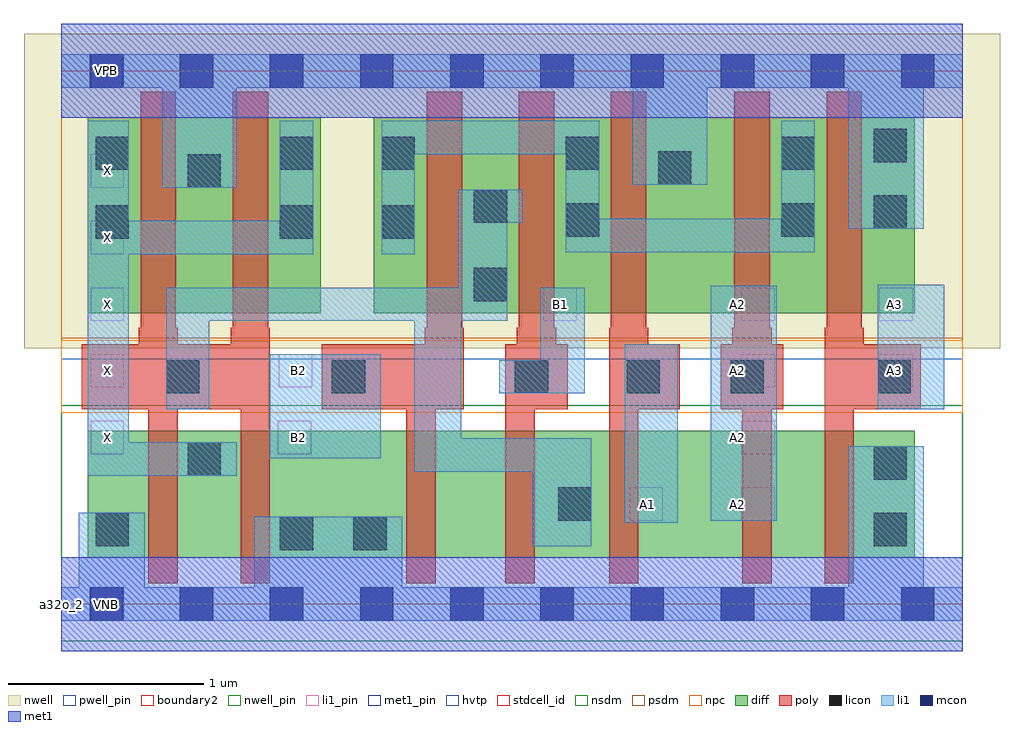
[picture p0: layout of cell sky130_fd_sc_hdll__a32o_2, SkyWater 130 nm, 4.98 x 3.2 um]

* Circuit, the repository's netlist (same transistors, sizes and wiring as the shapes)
* Copyright 2020 The SkyWater PDK Authors
*
* Licensed under the Apache License, Version 2.0 (the "License");
* you may not use this file except in compliance with the License.
* You may obtain a copy of the License at
*
*     https://www.apache.org/licenses/LICENSE-2.0
*
* Unless required by applicable law or agreed to in writing, software
* distributed under the License is distributed on an "AS IS" BASIS,
* WITHOUT WARRANTIES OR CONDITIONS OF ANY KIND, either express or implied.
* See the License for the specific language governing permissions and
* limitations under the License.
*
* SPDX-License-Identifier: Apache-2.0

.SUBCKT sky130_fd_sc_hdll__a32o_2 A1 A2 A3 B1 B2 VGND VNB VPB VPWR X
*.PININFO A1:I A2:I A3:I B1:I B2:I VGND:I VNB:I VPB:I VPWR:I X:O
MMPA0 pndA A1 VPWR VPB sky130_fd_pr__pfet_01v8_hvt m=1 w=1.0U l=0.18U mult=1 sa=0.265
+ sb=0.265 sd=0.28 area=0.063 perim=1.14
MMPA1 pndA A2 VPWR VPB sky130_fd_pr__pfet_01v8_hvt m=1 w=1.0U l=0.18U mult=1 sa=0.265
+ sb=0.265 sd=0.28 area=0.063 perim=1.14
MMPA2 pndA A3 VPWR VPB sky130_fd_pr__pfet_01v8_hvt m=1 w=1.0U l=0.18U mult=1 sa=0.265
+ sb=0.265 sd=0.28 area=0.063 perim=1.14
MMPB0 y B1 pndA VPB sky130_fd_pr__pfet_01v8_hvt m=1 w=1.0U l=0.18U mult=1 sa=0.265
+ sb=0.265 sd=0.28 area=0.063 perim=1.14
MMPB1 y B2 pndA VPB sky130_fd_pr__pfet_01v8_hvt m=1 w=1.0U l=0.18U mult=1 sa=0.265
+ sb=0.265 sd=0.28 area=0.063 perim=1.14
MMIPX X y VPWR VPB sky130_fd_pr__pfet_01v8_hvt m=2 w=1.0U l=0.18U mult=1 sa=0.265
+ sb=0.265 sd=0.28 area=0.063 perim=1.14
MMNA0 y A1 sndA1 VNB sky130_fd_pr__nfet_01v8 m=1 w=0.65U l=0.15U mult=1 sa=0.265
+ sb=0.265 sd=0.28 area=0.063 perim=1.14
MMNA1 sndA1 A2 sndA2 VNB sky130_fd_pr__nfet_01v8 m=1 w=0.65U l=0.15U mult=1 sa=0.265
+ sb=0.265 sd=0.28 area=0.063 perim=1.14
MMNA2 sndA2 A3 VGND VNB sky130_fd_pr__nfet_01v8 m=1 w=0.65U l=0.15U mult=1 sa=0.265
+ sb=0.265 sd=0.28 area=0.063 perim=1.14
MMNB0 y B1 sndB1 VNB sky130_fd_pr__nfet_01v8 m=1 w=0.65U l=0.15U mult=1 sa=0.265
+ sb=0.265 sd=0.28 area=0.063 perim=1.14
MMNB1 sndB1 B2 VGND VNB sky130_fd_pr__nfet_01v8 m=1 w=0.65U l=0.15U mult=1 sa=0.265
+ sb=0.265 sd=0.28 area=0.063 perim=1.14
MMINX X y VGND VNB sky130_fd_pr__nfet_01v8 m=2 w=0.65U l=0.15U mult=1 sa=0.265
+ sb=0.265 sd=0.28 area=0.063 perim=1.14
.ENDS sky130_fd_sc_hdll__a32o_2

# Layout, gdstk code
import gdstk
lib = gdstk.Library(unit=1e-6, precision=1e-09)
def R(c, l, rs):  # rectangles x0, y0, x1, y1
    for r in rs: c.add(gdstk.rectangle(r[:2], r[2:], *l))
def A(c, l, x, y, w, h, nx, ny, dx, dy):  # array of equal rectangles
    R(c, l, [(x+i*dx, y+j*dy, x+i*dx+w, y+j*dy+h) for i in range(nx) for j in range(ny)])
def P(c, l, *ps):  # polygons
    for p in ps: c.add(gdstk.Polygon(p, *l))
nwell_pin = (64, 16)
nwell = (64, 20)
diff = (65, 20)
poly = (66, 20)
licon = (66, 44)
li1_pin = (67, 16)
li1 = (67, 20)
mcon = (67, 44)
met1_pin = (68, 16)
met1 = (68, 20)
hvtp = (78, 44)
stdcell_id = (81, 4)
nsdm = (93, 44)
psdm = (94, 20)
npc = (95, 20)
pwell_pin = (122, 16)
boundary2 = (236, 0)

sky130_fd_sc_hdll__a32o_ = lib.new_cell('sky130_fd_sc_hdll__a32o_2')
R(sky130_fd_sc_hdll__a32o_, nwell_pin, [(0.15,2.635,0.32,2.805)])
R(sky130_fd_sc_hdll__a32o_, nwell, [(-0.19,1.305,4.79,2.91)])
R(sky130_fd_sc_hdll__a32o_, diff, [(0.135,0.235,4.355,0.885), (0.135,1.485,1.325,2.485), (1.595,1.485,4.355,2.485)])
P(sky130_fd_sc_hdll__a32o_, poly, [(1.065,1.41),(1.055,1.41),(1.055,2.615),(0.875,2.615),(0.875,1.41),(0.865,1.41),(0.865,1.325),(0.595,1.325),(0.595,1.41),(0.585,1.41),(0.585,2.615),(0.405,2.615),(0.405,1.41),(0.395,1.41),(0.395,1.325),(0.105,1.325),(0.105,0.995),(0.445,0.995),(0.445,0.105),(0.595,0.105),(0.595,0.995),(0.915,0.995),(0.915,0.105),(1.065,0.105)],
  [(2.055,1.41),(2.045,1.41),(2.045,2.615),(1.865,2.615),(1.865,1.41),(1.855,1.41),(1.855,1.325),(1.33,1.325),(1.33,0.995),(1.76,0.995),(1.76,0.105),(1.91,0.105),(1.91,0.995),(2.055,0.995)],
  [(2.585,1.325),(2.525,1.325),(2.525,1.41),(2.515,1.41),(2.515,2.615),(2.335,2.615),(2.335,1.41),(2.325,1.41),(2.325,1.325),(2.265,1.325),(2.265,0.105),(2.415,0.105),(2.415,0.995),(2.585,0.995)],
  [(3.155,1.325),(2.995,1.325),(2.995,1.41),(2.985,1.41),(2.985,2.615),(2.805,2.615),(2.805,1.41),(2.795,1.41),(2.795,0.105),(2.945,0.105),(2.945,0.995),(3.155,0.995)],
  [(3.685,1.325),(3.625,1.325),(3.625,1.41),(3.615,1.41),(3.615,2.615),(3.435,2.615),(3.435,1.41),(3.425,1.41),(3.425,1.325),(3.365,1.325),(3.365,0.995),(3.475,0.995),(3.475,0.105),(3.625,0.105),(3.625,0.995),(3.685,0.995)],
  [(4.385,1.325),(4.095,1.325),(4.095,1.41),(4.085,1.41),(4.085,2.615),(3.905,2.615),(3.905,1.41),(3.895,1.41),(3.895,0.105),(4.045,0.105),(4.045,0.995),(4.385,0.995)])
R(sky130_fd_sc_hdll__a32o_, licon, [(1.115,0.275,1.285,0.445), (1.49,0.275,1.66,0.445), (0.175,0.295,0.345,0.465), (4.145,0.295,4.315,0.465), (2.535,0.425,2.705,0.595), (4.145,0.635,4.315,0.805), (0.645,0.655,0.815,0.825), (0.535,1.075,0.705,1.245), (1.38,1.075,1.55,1.245), (2.315,1.075,2.485,1.245), (2.885,1.075,3.055,1.245), (3.415,1.075,3.585,1.245), (4.165,1.075,4.335,1.245), (2.105,1.545,2.275,1.715), (0.175,1.865,0.345,2.035), (1.115,1.865,1.285,2.035), (1.635,1.865,1.805,2.035), (2.575,1.875,2.745,2.045), (3.675,1.875,3.845,2.045), (4.145,1.915,4.315,2.085), (2.105,1.945,2.275,2.115), (0.645,2.125,0.815,2.295), (3.045,2.14,3.215,2.31), (0.175,2.215,0.345,2.385), (1.115,2.215,1.285,2.385), (1.635,2.215,1.805,2.385), (2.575,2.215,2.745,2.385), (3.675,2.215,3.845,2.385), (4.145,2.255,4.315,2.425)])
A(sky130_fd_sc_hdll__a32o_, li1_pin, 3.47, 0.425, 0.17, 0.17, 1, 4, 0, 0.34)
A(sky130_fd_sc_hdll__a32o_, li1_pin, 0.15, 0.765, 0.17, 0.17, 1, 5, 0, 0.34)
R(sky130_fd_sc_hdll__a32o_, li1_pin, [(2.9,0.425,3.07,0.595), (1.105,0.765,1.275,0.935), (1.11,1.105,1.28,1.275), (4.175,1.105,4.345,1.275), (2.46,1.445,2.63,1.615), (4.175,1.445,4.345,1.615)])
R(sky130_fd_sc_hdll__a32o_, li1, [(2.875,0.415,3.145,1.325), (3.315,0.425,3.65,1.625), (1.065,0.745,1.63,1.275), (4.165,0.995,4.505,1.63)])
P(sky130_fd_sc_hdll__a32o_, li1, [(2.705,0.845),(2.04,0.845),(2.04,1.445),(2.275,1.445),(2.275,1.945),(2.355,1.945),(2.355,2.115),(2.025,2.115),(2.025,1.615),(0.535,1.615),(0.535,0.995),(0.755,0.995),(0.755,1.445),(1.8,1.445),(1.8,0.675),(2.405,0.675),(2.405,0.295),(2.705,0.295)],
  [(1.285,2.465),(1.115,2.465),(1.115,1.955),(0.345,1.955),(0.345,2.465),(0.135,2.465),(0.135,0.655),(0.895,0.655),(0.895,0.825),(0.345,0.825),(0.345,1.785),(1.285,1.785)],
  [(4.6,2.805),(0,2.805),(0,2.635),(0.515,2.635),(0.515,2.125),(0.895,2.125),(0.895,2.635),(2.915,2.635),(2.915,2.14),(3.295,2.14),(3.295,2.635),(4.015,2.635),(4.015,1.915),(4.4,1.915),(4.4,2.635),(4.6,2.635)],
  [(2.67,1.615),(2.445,1.615),(2.445,1.245),(2.235,1.245),(2.235,1.075),(2.67,1.075)],
  [(4.6,0.085),(4.4,0.085),(4.4,0.805),(4.015,0.805),(4.015,0.085),(1.74,0.085),(1.74,0.445),(0.985,0.445),(0.985,0.085),(0.425,0.085),(0.425,0.465),(0.09,0.465),(0.09,0.085),(0,0.085),(0,-0.085),(4.6,-0.085)],
  [(3.845,2.465),(3.675,2.465),(3.675,1.965),(2.745,1.965),(2.745,2.465),(1.635,2.465),(1.635,1.785),(1.805,1.785),(1.805,2.295),(2.575,2.295),(2.575,1.795),(3.845,1.795)])
A(sky130_fd_sc_hdll__a32o_, mcon, 0.145, -0.085, 0.17, 0.17, 10, 2, 0.46, 2.72)
R(sky130_fd_sc_hdll__a32o_, met1_pin, [(0.15,-0.085,0.32,0.085), (0.15,2.635,0.32,2.805)])
R(sky130_fd_sc_hdll__a32o_, met1, [(0,-0.24,4.6,0.24), (0,2.48,4.6,2.96)])
R(sky130_fd_sc_hdll__a32o_, hvtp, [(0,1.25,4.6,2.72)])
R(sky130_fd_sc_hdll__a32o_, stdcell_id, [(0,0,4.6,2.72)])
R(sky130_fd_sc_hdll__a32o_, nsdm, [(0,-0.19,4.6,1.015)])
R(sky130_fd_sc_hdll__a32o_, psdm, [(0,1.355,4.6,2.91)])
R(sky130_fd_sc_hdll__a32o_, npc, [(0,0.975,4.6,1.345)])
R(sky130_fd_sc_hdll__a32o_, pwell_pin, [(0.15,-0.085,0.32,0.085)])
R(sky130_fd_sc_hdll__a32o_, boundary2, [(0,0,4.6,2.72)])
sky130_fd_sc_hdll__a32o_.add(gdstk.Label('B2', (1.21,0.85), layer=67, texttype=5))
sky130_fd_sc_hdll__a32o_.add(gdstk.Label('X', (0.235,1.53), layer=67, texttype=5))
sky130_fd_sc_hdll__a32o_.add(gdstk.Label('A2', (3.45,0.51), layer=67, texttype=5))
sky130_fd_sc_hdll__a32o_.add(gdstk.Label('A2', (3.45,0.85), layer=67, texttype=5))
sky130_fd_sc_hdll__a32o_.add(gdstk.Label('A3', (4.25,1.53), layer=67, texttype=5))
sky130_fd_sc_hdll__a32o_.add(gdstk.Label('A2', (3.45,1.19), layer=67, texttype=5))
sky130_fd_sc_hdll__a32o_.add(gdstk.Label('A2', (3.45,1.53), layer=67, texttype=5))
sky130_fd_sc_hdll__a32o_.add(gdstk.Label('A3', (4.25,1.19), layer=67, texttype=5))
sky130_fd_sc_hdll__a32o_.add(gdstk.Label('A1', (2.99,0.51), layer=67, texttype=5))
sky130_fd_sc_hdll__a32o_.add(gdstk.Label('X', (0.235,1.19), layer=67, texttype=5))
sky130_fd_sc_hdll__a32o_.add(gdstk.Label('X', (0.235,2.21), layer=67, texttype=5))
sky130_fd_sc_hdll__a32o_.add(gdstk.Label('X', (0.235,1.87), layer=67, texttype=5))
sky130_fd_sc_hdll__a32o_.add(gdstk.Label('B2', (1.21,1.19), layer=67, texttype=5))
sky130_fd_sc_hdll__a32o_.add(gdstk.Label('B1', (2.55,1.53), layer=67, texttype=5))
sky130_fd_sc_hdll__a32o_.add(gdstk.Label('X', (0.235,0.85), layer=67, texttype=5))
sky130_fd_sc_hdll__a32o_.add(gdstk.Label('VNB', (0.23,0), layer=64, texttype=59))
sky130_fd_sc_hdll__a32o_.add(gdstk.Label('VPB', (0.23,2.72), layer=64, texttype=5))
sky130_fd_sc_hdll__a32o_.add(gdstk.Label('VGND', (0.23,0), layer=68, texttype=5))
sky130_fd_sc_hdll__a32o_.add(gdstk.Label('VPWR', (0.23,2.72), layer=68, texttype=5))
sky130_fd_sc_hdll__a32o_.add(gdstk.Label('a32o_2', (0,0), layer=83, texttype=44))

lib.write_gds('sky130_fd_sc_hdll__a32o_2.gds')
